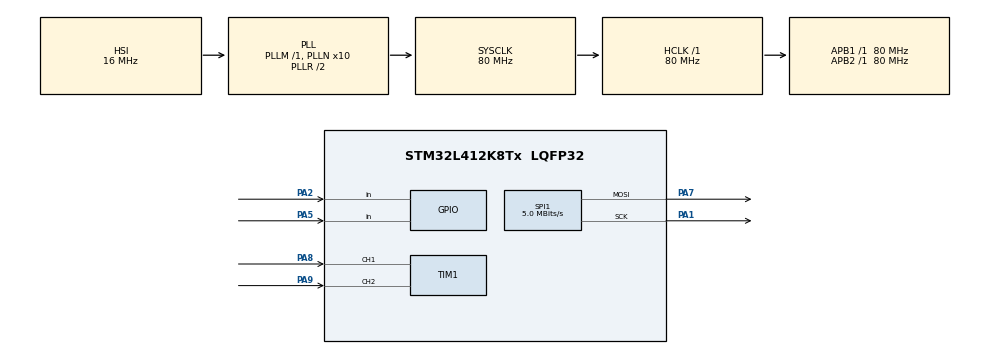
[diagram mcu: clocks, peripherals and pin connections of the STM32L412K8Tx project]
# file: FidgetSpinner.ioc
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Mcu.Family=STM32L4
RCC.MSI_VALUE=4000000
RCC.PLLSourceVirtual=RCC_PLLSOURCE_HSI
PA2.GPIO_PuPd=GPIO_PULLUP
RCC.CortexFreq_Value=80000000
PA7.Mode=TX_Only_Simplex_Unidirect_Master
PA13\ (JTMS/SWDIO).Mode=Serial_Wire
SPI1.VirtualType=VM_MASTER
TIM1.EncoderMode=TIM_ENCODERMODE_TI12
RCC.SYSCLKSource=RCC_SYSCLKSOURCE_PLLCLK
ProjectManager.StackSize=0x400
PA14\ (JTCK/SWCLK).Signal=SYS_JTCK-SWCLK
SH.S_TIM1_CH1.0=TIM1_CH1,Encoder_Interface
ProjectManager.TargetToolchain=STM32CubeIDE
SPI1.Direction=SPI_DIRECTION_2LINES
RCC.HCLKFreq_Value=80000000
RCC.APB2TimFreq_Value=80000000
PA9.Signal=S_TIM1_CH2
SPI1.CalculateBaudRate=5.0 MBits/s
RCC.USBFreq_Value=4000000
RCC.LSE_VALUE=32768
PA1.Signal=SPI1_SCK
RCC.AHBFreq_Value=80000000
PA5.Signal=GPIO_Input
RCC.HSE_VALUE=8000000
board=custom
RCC.VCOOutputFreq_Value=160000000
RCC.APB2Freq_Value=80000000
PA1.Mode=TX_Only_Simplex_Unidirect_Master
SH.S_TIM1_CH2.0=TIM1_CH2,Encoder_Interface
SPI1.Mode=SPI_MODE_MASTER
PA5.GPIO_PuPd=GPIO_PULLUP
RCC.ADCFreq_Value=80000000
SPI1.DataSize=SPI_DATASIZE_8BIT
PA8.Signal=S_TIM1_CH1
PA14\ (JTCK/SWCLK).Mode=Serial_Wire
Mcu.Name=STM32L412K8Tx
SPI1.NSSPMode=SPI_NSS_PULSE_DISABLE
PA2.Signal=GPIO_Input
RCC.SYSCLKFreq_VALUE=80000000
Mcu.Package=LQFP32
ProjectManager.HeapSize=0x200
RCC.HSI_VALUE=16000000
NVIC.PriorityGroup=NVIC_PRIORITYGROUP_4
RCC.PLLN=10
RCC.APB1TimFreq_Value=80000000
RCC.APB1Freq_Value=80000000
SPI1.BaudRatePrescaler=SPI_BAUDRATEPRESCALER_16
RCC.HSI48_VALUE=48000000
PA13\ (JTMS/SWDIO).Signal=SYS_JTMS-SWDIO
PA7.Signal=SPI1_MOSI

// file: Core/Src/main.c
/* USER CODE BEGIN Header */
/**
  ******************************************************************************
  * @file           : main.c
  * @brief          : Main program body
  ******************************************************************************
  * @attention
  *
  * <h2><center>&copy; Copyright (c) 2021 STMicroelectronics.
  * All rights reserved.</center></h2>
  *
  * This software component is licensed by ST under BSD 3-Clause license,
  * the "License"; You may not use this file except in compliance with the
  * License. You may obtain a copy of the License at:
  *                        opensource.org/licenses/BSD-3-Clause
  *
  ******************************************************************************
  */
/* USER CODE END Header */
#include "main.h"
#include "spi.h"
#include "tim.h"
#include "gpio.h"

void SystemClock_Config(void);
/* USER CODE BEGIN PFP */
//SPI to WS2812B
//5MHz spi clock
//200ns resolution for each spi bit
//6 spi bits to 1 ws2812b bit
//144 spi bits for 24 ws2812b bits
//18 spi bytes for 1 ws2812b pixel
//Low bit requires 400ns on and 800ns off. Which is about 2 spi high and 4 spi low
//High bit requires 800ns on and 400ns off. Which is about 4 spi high and 2 spi low

//rgb points to an array of desired rgb values that should equal numPixels
//pixelData need to point to an amount of memory equal to NumSpiBytesPerPixel*numPixels
#define NUM_SPI_BYTES_PER_PIXEL 18//Also change numOfHighSpiBits NUM_SPI_BITS_PER_PIXEL
#define NUM_SPI_BITS_PER_PIXEL_BIT 6//Also change numOfHighSpiBits NUM_SPI_BYTES_PER_PIXEL

void rgbToPixel_ws2812b(uint32_t *rgb, uint8_t *pixelData, int32_t numPixels){
    uint32_t pixelDataBitIndex = 0;
    //Set the first byte to all zeros so that the first bit isn't high for so long. Only need on st microcontrollers
    pixelData[0] = 0;
    pixelDataBitIndex += 8;
    for(int k=0; k<numPixels; k++){
        //Convert rgb to grb color which is needed by the smart pixel
        uint8_t r = (uint8_t)((rgb[k] >> 16) & 0xFF);
        uint8_t g = (uint8_t)((rgb[k] >> 8) & 0xFF);
        uint8_t b = (uint8_t)((rgb[k] >> 0) & 0xFF);
        uint32_t dataToSend = (g << 16) | (r << 8) | (b<<0);

        //Generate bit stream
        for(int i=0; i<24; i++){//24 bits for one pixel
            uint8_t colorBit = (uint8_t)((dataToSend & 0x800000) >> 23);//Grab the MSb
            dataToSend <<= 1;//shift to new data for next time
            int byteIndex, subBitIndex;//Used to determine spi location
            uint8_t numOfHighSpiBits = colorBit*2 + 2;//Equation to map 0->2 and 1->4
            for(int j=0; j<NUM_SPI_BITS_PER_PIXEL_BIT; j++){//Number of spi bits in one smart pixel bit
                byteIndex = pixelDataBitIndex / 8;//Determines current spi byte
                subBitIndex = 7 - (pixelDataBitIndex % 8);//Determines which bit needs to be change in the current spi byte
                if(j<numOfHighSpiBits){//how many spi bits is the signal high for
                    pixelData[byteIndex] |= 1 << subBitIndex;//logic high
                }else{
                    pixelData[byteIndex] &= ~(1 << subBitIndex);//logic low
                }
                pixelDataBitIndex++;
            }
        }
    }

    //Transmit all the data needed to light up all of the smart pixels
    HAL_SPI_Transmit(&hspi1, pixelData, NUM_SPI_BYTES_PER_PIXEL*numPixels+1, 1000);

}
/* USER CODE END PFP */

int main(void)
{

  /* MCU Configuration--------------------------------------------------------*/

  /* Reset of all peripherals, Initializes the Flash interface and the Systick. */
  HAL_Init();

  /* Configure the system clock */
  SystemClock_Config();

  /* Initialize all configured peripherals */
  MX_GPIO_Init();
  MX_SPI1_Init();
  MX_TIM1_Init();
  /* USER CODE BEGIN 2 */
  //Allocate space for pixels
  #define NUM_OF_PIXELS 4
#define SCRATCH_PAD_SIZE NUM_SPI_BYTES_PER_PIXEL * NUM_OF_PIXELS + 1//One for extra byte so the first high bit is high for so long
  uint32_t pixelsRgb[NUM_OF_PIXELS] = {0x0f0000, 0x000f00, 0x0f0000, 0x0f000f};
  uint8_t pixelDataScratchPad[SCRATCH_PAD_SIZE];
  rgbToPixel_ws2812b(pixelsRgb, pixelDataScratchPad, NUM_OF_PIXELS);
//  rgbToPixel_ws2812b(pixelsRgb, pixelDataScratchPad, NUM_OF_PIXELS);
//  rgbToPixel_ws2812b(pixelsRgb, pixelDataScratchPad, NUM_OF_PIXELS);
//  rgbToPixel_ws2812b(pixelsRgb, pixelDataScratchPad, NUM_OF_PIXELS);
  /* USER CODE END 2 */

  /* Infinite loop */
  /* USER CODE BEGIN WHILE */
  while (1)
  {
	  if(HAL_GPIO_ReadPin(GPIOA, GPIO_PIN_2) == 0){
		  pixelsRgb[0] = 0x030000;
		  pixelsRgb[1] = 0x030000;
		  pixelsRgb[2] = 0x030000;
		  pixelsRgb[3] = 0x030000;
//		  pixelsRgb[0] = 0x00BFFF;
//		  pixelsRgb[1] = 0xB0E0E6;
//		  pixelsRgb[2] = 0x00BFFF;
//		  pixelsRgb[3] = 0xB0E0E6;
		  rgbToPixel_ws2812b(pixelsRgb, pixelDataScratchPad, NUM_OF_PIXELS);
	  }else{
		  pixelsRgb[0] = 0x000300;
		  pixelsRgb[1] = 0x000300;
		  pixelsRgb[2] = 0x000300;
		  pixelsRgb[3] = 0x000300;
//		  pixelsRgb[0] = 0xFFA500;
//		  pixelsRgb[1] = 0x800080;
//		  pixelsRgb[2] = 0xFFA500;
//		  pixelsRgb[3] = 0x800080;
		  rgbToPixel_ws2812b(pixelsRgb, pixelDataScratchPad, NUM_OF_PIXELS);
	  }
//	  HAL_Delay(100);
    /* USER CODE END WHILE */

  }
}

void SystemClock_Config(void)
{
  RCC_OscInitTypeDef RCC_OscInitStruct = {0};
  RCC_ClkInitTypeDef RCC_ClkInitStruct = {0};

  /** Configure the main internal regulator output voltage
  */
  if (HAL_PWREx_ControlVoltageScaling(PWR_REGULATOR_VOLTAGE_SCALE1) != HAL_OK)
  {
    Error_Handler();
  }
  /** Initializes the RCC Oscillators according to the specified parameters
  * in the RCC_OscInitTypeDef structure.
  */
  RCC_OscInitStruct.OscillatorType = RCC_OSCILLATORTYPE_HSI;
  RCC_OscInitStruct.HSIState = RCC_HSI_ON;
  RCC_OscInitStruct.HSICalibrationValue = RCC_HSICALIBRATION_DEFAULT;
  RCC_OscInitStruct.PLL.PLLState = RCC_PLL_ON;
  RCC_OscInitStruct.PLL.PLLSource = RCC_PLLSOURCE_HSI;
  RCC_OscInitStruct.PLL.PLLM = 1;
  RCC_OscInitStruct.PLL.PLLN = 10;
  RCC_OscInitStruct.PLL.PLLQ = RCC_PLLQ_DIV2;
  RCC_OscInitStruct.PLL.PLLR = RCC_PLLR_DIV2;
  if (HAL_RCC_OscConfig(&RCC_OscInitStruct) != HAL_OK)
  {
    Error_Handler();
  }
  /** Initializes the CPU, AHB and APB buses clocks
  */
  RCC_ClkInitStruct.ClockType = RCC_CLOCKTYPE_HCLK|RCC_CLOCKTYPE_SYSCLK
                              |RCC_CLOCKTYPE_PCLK1|RCC_CLOCKTYPE_PCLK2;
  RCC_ClkInitStruct.SYSCLKSource = RCC_SYSCLKSOURCE_PLLCLK;
  RCC_ClkInitStruct.AHBCLKDivider = RCC_SYSCLK_DIV1;
  RCC_ClkInitStruct.APB1CLKDivider = RCC_HCLK_DIV1;
  RCC_ClkInitStruct.APB2CLKDivider = RCC_HCLK_DIV1;

  if (HAL_RCC_ClockConfig(&RCC_ClkInitStruct, FLASH_LATENCY_4) != HAL_OK)
  {
    Error_Handler();
  }
}

void Error_Handler(void)
{
  __disable_irq();
  while (1)
  {
  }
}

/************************ (C) COPYRIGHT STMicroelectronics *****END OF FILE****/
